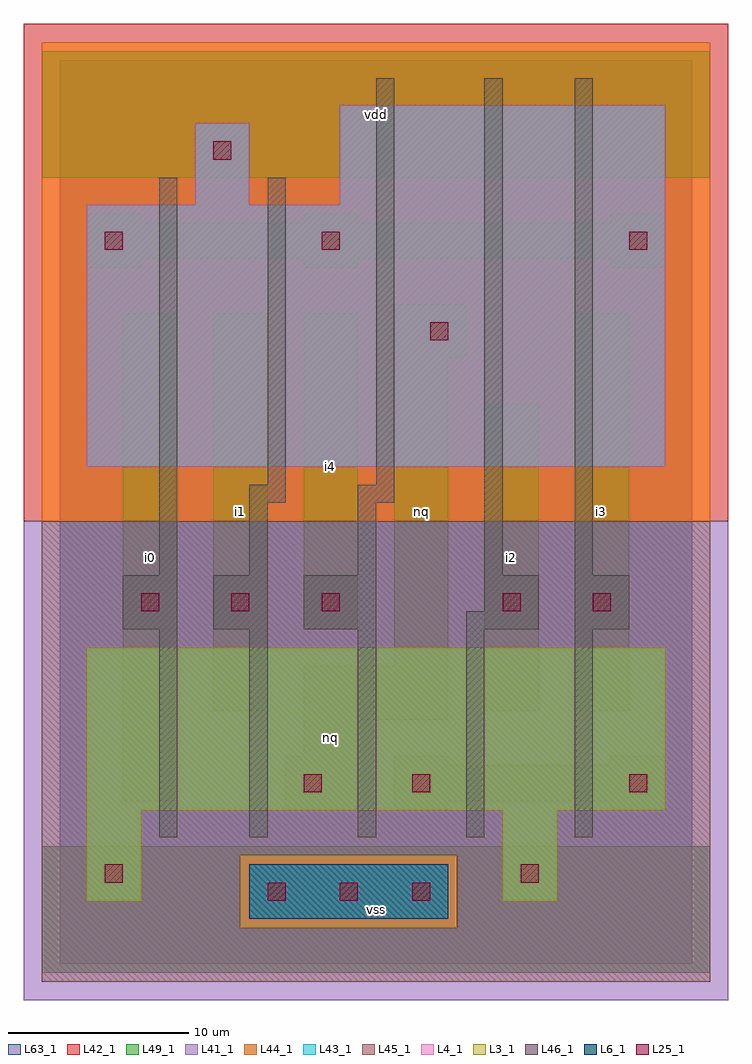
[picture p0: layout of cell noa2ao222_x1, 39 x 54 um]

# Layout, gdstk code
import gdstk
lib = gdstk.Library(unit=1e-6, precision=1e-09)
def R(c, l, rs):  # rectangles x0, y0, x1, y1
    for r in rs: c.add(gdstk.rectangle(r[:2], r[2:], *l))
def A(c, l, x, y, w, h, nx, ny, dx, dy):  # array of equal rectangles
    R(c, l, [(x+i*dx, y+j*dy, x+i*dx+w, y+j*dy+h) for i in range(nx) for j in range(ny)])
L3_1 = (3, 1)
L4_1 = (4, 1)
L6_1 = (6, 1)
L25_1 = (25, 1)
L41_1 = (41, 1)
L42_1 = (42, 1)
L43_1 = (43, 1)
L44_1 = (44, 1)
L45_1 = (45, 1)
L46_1 = (46, 1)
L49_1 = (49, 1)
L63_1 = (63, 1)

noa2ao222_x1 = lib.new_cell('noa2ao222_x1')
R(noa2ao222_x1, L3_1, [(1.5,3.5,4.5,8.5), (24.5,3.5,27.5,8.5), (1.5,8.5,33.5,17.5)])
R(noa2ao222_x1, L4_1, [(1.5,27.5,33.5,42), (7.5,42,10.5,46.5), (15.5,42,33.5,47.5)])
R(noa2ao222_x1, L6_1, [(10.5,2.5,21.5,5.5)])
A(noa2ao222_x1, L25_1, 11.5, 3.5, 1, 1, 3, 1, 4, 0)
A(noa2ao222_x1, L25_1, 4.5, 19.5, 1, 1, 3, 1, 5, 0)
R(noa2ao222_x1, L25_1, [(2.5,4.5,3.5,5.5), (25.5,4.5,26.5,5.5), (13.5,9.5,14.5,10.5), (19.5,9.5,20.5,10.5), (31.5,9.5,32.5,10.5), (24.5,19.5,25.5,20.5), (29.5,19.5,30.5,20.5), (20.5,34.5,21.5,35.5), (2.5,39.5,3.5,40.5), (14.5,39.5,15.5,40.5), (31.5,39.5,32.5,40.5), (8.5,44.5,9.5,45.5)])
R(noa2ao222_x1, L41_1, [(-2,-2,37,24.5)])
R(noa2ao222_x1, L42_1, [(-2,24.5,37,52)])
R(noa2ao222_x1, L43_1, [(10.5,2.5,21.5,5.5), (1.5,3.5,4.5,8.5), (24.5,3.5,27.5,8.5), (1.5,8.5,33.5,17.5), (1.5,27.5,33.5,42), (7.5,42,10.5,46.5), (15.5,42,33.5,47.5)])
R(noa2ao222_x1, L44_1, [(10,2,22,6), (-1,24.5,36,51)])
R(noa2ao222_x1, L45_1, [(-1,-1,36,2), (-1,2,10,6), (22,2,36,6), (-1,6,36,24.5)])
A(noa2ao222_x1, L46_1, 10.5, 7, 1, 11.5, 4, 1, 6, 0)
R(noa2ao222_x1, L46_1, [(5.5,7,6.5,18.5), (3.5,18.5,6.5,21.5), (8.5,18.5,11.5,21.5), (13.5,18.5,17.5,21.5), (22.5,18.5,26.5,19.5), (28.5,18.5,31.5,21.5), (23.5,19.5,26.5,21.5), (5.5,21.5,6.5,43.5), (10.5,21.5,11.5,25.5), (16.5,21.5,17.5,25.5), (23.5,21.5,24.5,49), (28.5,21.5,29.5,49), (10.5,25.5,12.5,26.5), (16.5,25.5,18.5,26.5), (11.5,26.5,12.5,43.5), (17.5,26.5,18.5,49)])
R(noa2ao222_x1, L49_1, [(-1,-0.5,36,6.5), (12.5,8.5,16.5,11.5), (18.5,8.5,21.5,9), (30.5,8.5,33.5,9), (3.5,9,6.5,36), (18.5,9,33.5,11), (18.5,11,21.5,11.5), (30.5,11,33.5,11.5), (13.5,11.5,16.5,13.5), (13.5,13.5,21.5,16.5), (8.5,14,11.5,36), (23.5,14,26.5,31), (28.5,14,31.5,36), (18.5,16.5,21.5,33.5), (13.5,18.5,16.5,36), (18.5,33.5,22.5,36.5), (1.5,38.5,4.5,39), (13.5,38.5,16.5,39), (30.5,38.5,33.5,39), (1.5,39,33.5,41), (1.5,41,4.5,41.5), (13.5,41,16.5,41.5), (30.5,41,33.5,41.5), (-1,43.5,36,50.5)])
R(noa2ao222_x1, L63_1, [(0,0,35,50)])
noa2ao222_x1.add(gdstk.Label('i0', (5,22.5), layer=49, texttype=1))
noa2ao222_x1.add(gdstk.Label('i0', (5,22.5), layer=49, texttype=1))
noa2ao222_x1.add(gdstk.Label('nq', (15,12.5), layer=49, texttype=1))
noa2ao222_x1.add(gdstk.Label('nq', (15,12.5), layer=49, texttype=1))
noa2ao222_x1.add(gdstk.Label('i1', (10,25), layer=49, texttype=1))
noa2ao222_x1.add(gdstk.Label('i1', (10,25), layer=49, texttype=1))
noa2ao222_x1.add(gdstk.Label('i4', (15,27.5), layer=49, texttype=1))
noa2ao222_x1.add(gdstk.Label('i4', (15,27.5), layer=49, texttype=1))
noa2ao222_x1.add(gdstk.Label('vss', (17.5,3), layer=49, texttype=1))
noa2ao222_x1.add(gdstk.Label('vss', (17.5,3), layer=49, texttype=1))
noa2ao222_x1.add(gdstk.Label('i2', (25,22.5), layer=49, texttype=1))
noa2ao222_x1.add(gdstk.Label('i2', (25,22.5), layer=49, texttype=1))
noa2ao222_x1.add(gdstk.Label('nq', (20,25), layer=49, texttype=1))
noa2ao222_x1.add(gdstk.Label('nq', (20,25), layer=49, texttype=1))
noa2ao222_x1.add(gdstk.Label('vdd', (17.5,47), layer=49, texttype=1))
noa2ao222_x1.add(gdstk.Label('vdd', (17.5,47), layer=49, texttype=1))
noa2ao222_x1.add(gdstk.Label('i3', (30,25), layer=49, texttype=1))
noa2ao222_x1.add(gdstk.Label('i3', (30,25), layer=49, texttype=1))

lib.write_gds('noa2ao222_x1.gds')
